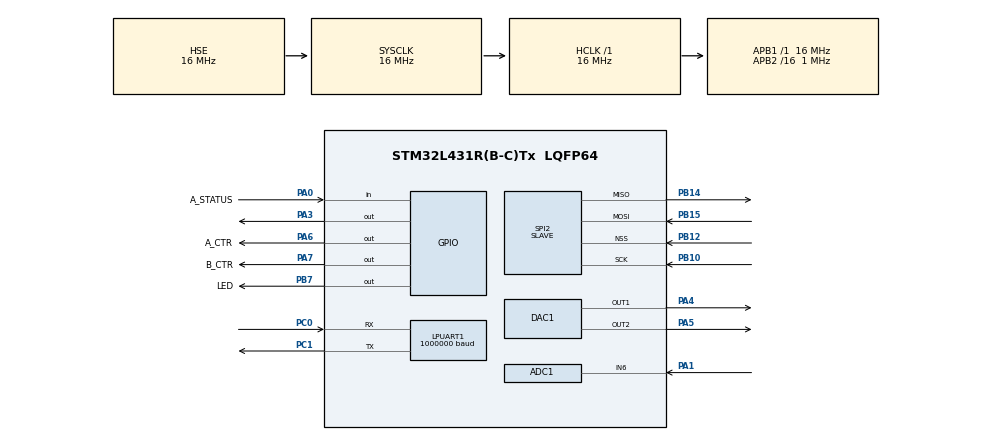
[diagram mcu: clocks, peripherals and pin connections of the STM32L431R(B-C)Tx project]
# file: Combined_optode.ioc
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ADC1.Channel-3\#ChannelRegularConversion=ADC_CHANNEL_6
ADC1.NbrOfConversionFlag=1
ADC1.OffsetNumber-3\#ChannelRegularConversion=ADC_OFFSET_NONE
ADC1.Rank-3\#ChannelRegularConversion=1
ADC1.Resolution=ADC_RESOLUTION_12B
ADC1.SamplingTime-3\#ChannelRegularConversion=ADC_SAMPLETIME_2CYCLES_5
ADC1.master=1
DAC1.DAC_Channel-DAC_OUT2=DAC_CHANNEL_2
LPUART1.BaudRate=1000000
LPUART1.WordLength=UART_WORDLENGTH_8B
Mcu.Family=STM32L4
Mcu.Name=STM32L431R(B-C)Tx
Mcu.Package=LQFP64
NVIC.PriorityGroup=NVIC_PRIORITYGROUP_4
NVIC.SPI2_IRQn=true\:0\:0\:false\:false\:true\:true\:true
NVIC.TIM1_UP_TIM16_IRQn=true\:0\:0\:false\:false\:true\:true\:true
PA0.GPIO_Label=A_STATUS
PA0.Signal=GPIO_Input
PA1.Signal=ADCx_IN6
PA13\ (JTMS-SWDIO).Mode=Serial_Wire
PA13\ (JTMS-SWDIO).Signal=SYS_JTMS-SWDIO
PA14\ (JTCK-SWCLK).Mode=Serial_Wire
PA14\ (JTCK-SWCLK).Signal=SYS_JTCK-SWCLK
PA3.Signal=GPIO_Output
PA4.Signal=COMP_DAC11_group
PA5.Signal=COMP_DAC12_group
PA6.GPIO_Label=A_CTR
PA6.Signal=GPIO_Output
PA7.GPIO_Label=B_CTR
PA7.Signal=GPIO_Output
PB10.Mode=Full_Duplex_Slave
PB10.Signal=SPI2_SCK
PB12.Mode=NSS_Signal_Hard_Input
PB12.Signal=SPI2_NSS
PB14.Mode=Full_Duplex_Slave
PB14.Signal=SPI2_MISO
PB15.Mode=Full_Duplex_Slave
PB15.Signal=SPI2_MOSI
PB7.GPIO_Label=LED
PB7.Signal=GPIO_Output
PC0.Mode=Asynchronous
PC0.Signal=LPUART1_RX
PC1.Mode=Asynchronous
PC1.Signal=LPUART1_TX
PC14-OSC32_IN\ (PC14).Mode=LSE-External-Oscillator
PC14-OSC32_IN\ (PC14).Signal=RCC_OSC32_IN
PC15-OSC32_OUT\ (PC15).Mode=LSE-External-Oscillator
PC15-OSC32_OUT\ (PC15).Signal=RCC_OSC32_OUT
PH0-OSC_IN\ (PH0).Mode=HSE-External-Oscillator
PH0-OSC_IN\ (PH0).Signal=RCC_OSC_IN
PH1-OSC_OUT\ (PH1).Mode=HSE-External-Oscillator
PH1-OSC_OUT\ (PH1).Signal=RCC_OSC_OUT
ProjectManager.HeapSize=0x200
ProjectManager.StackSize=0x400
ProjectManager.TargetToolchain=STM32CubeIDE
RCC.ADCCLockSelection=RCC_ADCCLKSOURCE_SYSCLK
RCC.ADCFreq_Value=16000000
RCC.AHBFreq_Value=16000000
RCC.APB1Freq_Value=16000000
RCC.APB1TimFreq_Value=16000000
RCC.APB2CLKDivider=RCC_HCLK_DIV16
RCC.APB2Freq_Value=1000000
RCC.APB2TimFreq_Value=2000000
RCC.CortexFreq_Value=16000000
RCC.FLatency-AdvancedSettings=FLASH_LATENCY_0
RCC.HCLKFreq_Value=16000000
RCC.HSE_VALUE=16000000
RCC.HSI48_VALUE=48000000
RCC.HSI_VALUE=16000000
RCC.LPUART1CLockSelection=RCC_LPUART1CLKSOURCE_SYSCLK
RCC.MSIAutoCalibration-AdvancedSettings=ENABLED
RCC.MSI_VALUE=4000000
RCC.PLLSourceVirtual=RCC_PLLSOURCE_HSE
RCC.SYSCLKFreq_VALUE=16000000
RCC.SYSCLKSource=RCC_SYSCLKSOURCE_HSE
RCC.VCOOutputFreq_Value=128000000
SH.ADCx_IN6.0=ADC1_IN6,IN6-Single-Ended
SH.COMP_DAC11_group.0=DAC1_OUT1,DAC_OUT1
SH.COMP_DAC12_group.0=DAC1_OUT2,DAC_OUT2
SPI2.DataSize=SPI_DATASIZE_8BIT
SPI2.Direction=SPI_DIRECTION_2LINES
SPI2.Mode=SPI_MODE_SLAVE
SPI2.VirtualNSS=VM_NSSHARD
SPI2.VirtualType=VM_SLAVE
TIM16.Period=5000-1
TIM16.Prescaler=250-1
VP_TIM16_VS_ClockSourceINT.Mode=Enable_Timer
board=custom

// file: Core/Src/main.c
/* USER CODE BEGIN Header */
/**
  ******************************************************************************
  * @file           : main.c
  * @brief          : this is for the firmware that runs on optode which
  *                   sends it data to the main controller using SPI
  * @Author			: UG Chathura Jayasankha
  ******************************************************************************
  * @attention
  *
  * <h2><center>&copy; Copyright (c) 2022 STMicroelectronics.
  * All rights reserved.</center></h2>
  *
  * This software component is licensed by ST under BSD 3-Clause license,
  * the "License"; You may not use this file except in compliance with the
  * License. You may obtain a copy of the License at:
  *                        opensource.org/licenses/BSD-3-Clause
  *
  ******************************************************************************
  */
/* USER CODE END Header */
#include "main.h"

/* USER CODE BEGIN Includes */
#include <stdio.h>
#include <string.h>

/* USER CODE END Includes */

/* USER CODE BEGIN PTD */
#define BUFFERSIZE 256

/* USER CODE END PTD */

/* USER CODE BEGIN PD */
enum
{
  TRANSFER_WAIT,
  TRANSFER_COMPLETE,
  TRANSFER_ERROR
};
/* USER CODE END PD */

ADC_HandleTypeDef hadc1;

DAC_HandleTypeDef hdac1;

UART_HandleTypeDef hlpuart1;

SPI_HandleTypeDef hspi2;

TIM_HandleTypeDef htim16;

/* USER CODE BEGIN PV */
uint16_t DAC_val = 4000;
/* Buffer used for transmission */
uint8_t aTxBuffer[BUFFERSIZE] = "This is a msg from optode board...\r\n";

/* Buffer used for reception */
uint8_t aRxBuffer[BUFFERSIZE] = "this is original rx from optode\r\n";

/* transfer state */
__IO uint32_t wTransferState = TRANSFER_WAIT;

// following counter is used to iterate over the new samples.
//when it incremented, new adc readings will be taken
//when it hits multiples of 10 or so, it changes the state of the corresponding led
//when it hits multiples of 100 or so, it changes the LED on action.
int sample_counter = 0;
int sample_counter_prev = 0;

uint16_t active_channel = ((uint16_t)0x0040);  //((uint16_t)0x0080) for channel 2
int channel_state = GPIO_PIN_SET; //GPIO_PIN_RESET

/* USER CODE END PV */

void SystemClock_Config(void);
static void MX_GPIO_Init(void);
static void MX_ADC1_Init(void);
static void MX_DAC1_Init(void);
static void MX_TIM16_Init(void);
static void MX_LPUART1_UART_Init(void);
static void MX_SPI2_Init(void);
/* USER CODE BEGIN PFP */
static void Timeout_Error_Handler(void);
static uint16_t Buffercmp(uint8_t *pBuffer1, uint8_t *pBuffer2, uint16_t BufferLength);
/* USER CODE END PFP */

/* USER CODE BEGIN 0 */
uint16_t adc_reading;
char msg[10];
char uart_buf[100];
int uart_buf_len;
/* USER CODE END 0 */

int main(void)
{

  /* MCU Configuration--------------------------------------------------------*/

  /* Reset of all peripherals, Initializes the Flash interface and the Systick. */
  HAL_Init();

  /* Configure the system clock */
  SystemClock_Config();

  /* Initialize all configured peripherals */
  MX_GPIO_Init();
  MX_ADC1_Init();
  MX_DAC1_Init();
  MX_TIM16_Init();
  MX_LPUART1_UART_Init();
  MX_SPI2_Init();
  /* USER CODE BEGIN 2 */

  // switching on led to show the fnirs start
	HAL_GPIO_WritePin(GPIOB, GPIO_PIN_7, GPIO_PIN_SET);
	HAL_Delay(500);
	HAL_GPIO_WritePin(GPIOB, GPIO_PIN_7, GPIO_PIN_RESET);
	HAL_Delay(500);
	HAL_GPIO_WritePin(GPIOB, GPIO_PIN_7, GPIO_PIN_SET);
	HAL_Delay(500);
	HAL_GPIO_WritePin(GPIOB, GPIO_PIN_7, GPIO_PIN_RESET);
	HAL_Delay(500);
	HAL_GPIO_WritePin(GPIOB, GPIO_PIN_7, GPIO_PIN_SET);
	HAL_Delay(500);
	HAL_GPIO_WritePin(GPIOB, GPIO_PIN_7, GPIO_PIN_RESET);
	HAL_Delay(500);

	HAL_GPIO_WritePin(GPIOA, GPIO_PIN_7, GPIO_PIN_SET);
	HAL_GPIO_WritePin(GPIOA, GPIO_PIN_6, GPIO_PIN_RESET);
	//usb output as a test
	uart_buf_len = sprintf(uart_buf, "Timer starting ...\r\n");
	HAL_UART_Transmit(&hlpuart1, (uint8_t *)uart_buf, uart_buf_len, 100);
	HAL_Delay(2000);
	// HAL_UART_Transmit(huart, pData, Size, Timeout)

	//start interrupt for ADC
	HAL_ADC_Start(&hadc1);

	//start interrupt timer
	//HAL_TIM_Base_Start_IT(&htim16);

	//start DAC
	HAL_DAC_Start(&hdac1, DAC_CHANNEL_1);
	HAL_DAC_Start(&hdac1, DAC_CHANNEL_2);
	HAL_DAC_SetValue(&hdac1, DAC1_CHANNEL_1, DAC_ALIGN_12B_R, DAC_val);
	HAL_DAC_SetValue(&hdac1, DAC1_CHANNEL_2, DAC_ALIGN_12B_R, DAC_val);

	HAL_Delay(2000);

	//start interrupt timer
	//HAL_TIM_Base_Start_IT(&htim16);

  /* USER CODE END 2 */

  /* Infinite loop */
  while (1)
  {

    /* USER CODE BEGIN 3 */

	  if(sample_counter==sample_counter_prev+1){
		  if (sample_counter%5==0){
				if(channel_state){
					channel_state = GPIO_PIN_RESET;
				}else{
					channel_state = GPIO_PIN_SET;
				}

				if(sample_counter%100==0){

					adc_reading = 1;
					sprintf(msg, "other %hu\r\n", adc_reading);
					HAL_UART_Transmit(&hlpuart1, (uint8_t*)msg, strlen(msg), HAL_MAX_DELAY);
					if(active_channel == 0x0040){
						active_channel = 0x0080;
					}else{
						active_channel = 0x0040;
					}
				}
				HAL_GPIO_WritePin(GPIOA, active_channel, channel_state);
		  }
		  sample_counter_prev=sample_counter;
	  }
	  //HAL_UART_Transmit(&hlpuart1, (uint8_t*)msg, strlen(msg), HAL_MAX_DELAY);
	  adc_reading = HAL_SPI_TransmitReceive(&hspi2, (uint8_t *)aTxBuffer, (uint8_t *)aRxBuffer, BUFFERSIZE, 5000);
	  //adc_reading = 1;
	  HAL_GPIO_TogglePin(GPIOB, GPIO_PIN_7);

	  sprintf(msg, "error %hu\r\n", adc_reading);
	  HAL_UART_Transmit(&hlpuart1, (uint8_t*)msg, strlen(msg), HAL_MAX_DELAY);
	  HAL_UART_Transmit(&hlpuart1,&aRxBuffer,sizeof(aRxBuffer),100);

  }
  /* USER CODE END 3 */
}

void SystemClock_Config(void)
{
  RCC_OscInitTypeDef RCC_OscInitStruct = {0};
  RCC_ClkInitTypeDef RCC_ClkInitStruct = {0};

  /** Configure the main internal regulator output voltage
  */
  if (HAL_PWREx_ControlVoltageScaling(PWR_REGULATOR_VOLTAGE_SCALE1) != HAL_OK)
  {
    Error_Handler();
  }
  /** Initializes the RCC Oscillators according to the specified parameters
  * in the RCC_OscInitTypeDef structure.
  */
  RCC_OscInitStruct.OscillatorType = RCC_OSCILLATORTYPE_HSE;
  RCC_OscInitStruct.HSEState = RCC_HSE_ON;
  RCC_OscInitStruct.PLL.PLLState = RCC_PLL_NONE;
  if (HAL_RCC_OscConfig(&RCC_OscInitStruct) != HAL_OK)
  {
    Error_Handler();
  }
  /** Initializes the CPU, AHB and APB buses clocks
  */
  RCC_ClkInitStruct.ClockType = RCC_CLOCKTYPE_HCLK|RCC_CLOCKTYPE_SYSCLK
                              |RCC_CLOCKTYPE_PCLK1|RCC_CLOCKTYPE_PCLK2;
  RCC_ClkInitStruct.SYSCLKSource = RCC_SYSCLKSOURCE_HSE;
  RCC_ClkInitStruct.AHBCLKDivider = RCC_SYSCLK_DIV1;
  RCC_ClkInitStruct.APB1CLKDivider = RCC_HCLK_DIV1;
  RCC_ClkInitStruct.APB2CLKDivider = RCC_HCLK_DIV16;

  if (HAL_RCC_ClockConfig(&RCC_ClkInitStruct, FLASH_LATENCY_0) != HAL_OK)
  {
    Error_Handler();
  }
}

static void MX_ADC1_Init(void)
{

  ADC_ChannelConfTypeDef sConfig = {0};

  /** Common config
  */
  hadc1.Instance = ADC1;
  hadc1.Init.ClockPrescaler = ADC_CLOCK_ASYNC_DIV1;
  hadc1.Init.Resolution = ADC_RESOLUTION_12B;
  hadc1.Init.DataAlign = ADC_DATAALIGN_RIGHT;
  hadc1.Init.ScanConvMode = ADC_SCAN_DISABLE;
  hadc1.Init.EOCSelection = ADC_EOC_SINGLE_CONV;
  hadc1.Init.LowPowerAutoWait = DISABLE;
  hadc1.Init.ContinuousConvMode = DISABLE;
  hadc1.Init.NbrOfConversion = 1;
  hadc1.Init.DiscontinuousConvMode = DISABLE;
  hadc1.Init.ExternalTrigConv = ADC_SOFTWARE_START;
  hadc1.Init.ExternalTrigConvEdge = ADC_EXTERNALTRIGCONVEDGE_NONE;
  hadc1.Init.DMAContinuousRequests = DISABLE;
  hadc1.Init.Overrun = ADC_OVR_DATA_PRESERVED;
  hadc1.Init.OversamplingMode = DISABLE;
  if (HAL_ADC_Init(&hadc1) != HAL_OK)
  {
    Error_Handler();
  }
  /** Configure Regular Channel
  */
  sConfig.Channel = ADC_CHANNEL_6;
  sConfig.Rank = ADC_REGULAR_RANK_1;
  sConfig.SamplingTime = ADC_SAMPLETIME_2CYCLES_5;
  sConfig.SingleDiff = ADC_SINGLE_ENDED;
  sConfig.OffsetNumber = ADC_OFFSET_NONE;
  sConfig.Offset = 0;
  if (HAL_ADC_ConfigChannel(&hadc1, &sConfig) != HAL_OK)
  {
    Error_Handler();
  }

}

static void MX_DAC1_Init(void)
{

  DAC_ChannelConfTypeDef sConfig = {0};

  /** DAC Initialization
  */
  hdac1.Instance = DAC1;
  if (HAL_DAC_Init(&hdac1) != HAL_OK)
  {
    Error_Handler();
  }
  /** DAC channel OUT1 config
  */
  sConfig.DAC_SampleAndHold = DAC_SAMPLEANDHOLD_DISABLE;
  sConfig.DAC_Trigger = DAC_TRIGGER_NONE;
  sConfig.DAC_OutputBuffer = DAC_OUTPUTBUFFER_ENABLE;
  sConfig.DAC_ConnectOnChipPeripheral = DAC_CHIPCONNECT_DISABLE;
  sConfig.DAC_UserTrimming = DAC_TRIMMING_FACTORY;
  if (HAL_DAC_ConfigChannel(&hdac1, &sConfig, DAC_CHANNEL_1) != HAL_OK)
  {
    Error_Handler();
  }
  /** DAC channel OUT2 config
  */
  if (HAL_DAC_ConfigChannel(&hdac1, &sConfig, DAC_CHANNEL_2) != HAL_OK)
  {
    Error_Handler();
  }

}

static void MX_LPUART1_UART_Init(void)
{

  hlpuart1.Instance = LPUART1;
  hlpuart1.Init.BaudRate = 1000000;
  hlpuart1.Init.WordLength = UART_WORDLENGTH_8B;
  hlpuart1.Init.StopBits = UART_STOPBITS_1;
  hlpuart1.Init.Parity = UART_PARITY_NONE;
  hlpuart1.Init.Mode = UART_MODE_TX_RX;
  hlpuart1.Init.HwFlowCtl = UART_HWCONTROL_NONE;
  hlpuart1.Init.OneBitSampling = UART_ONE_BIT_SAMPLE_DISABLE;
  hlpuart1.AdvancedInit.AdvFeatureInit = UART_ADVFEATURE_NO_INIT;
  if (HAL_UART_Init(&hlpuart1) != HAL_OK)
  {
    Error_Handler();
  }

}

static void MX_SPI2_Init(void)
{

  /* SPI2 parameter configuration*/
  hspi2.Instance = SPI2;
  hspi2.Init.Mode = SPI_MODE_SLAVE;
  hspi2.Init.Direction = SPI_DIRECTION_2LINES;
  hspi2.Init.DataSize = SPI_DATASIZE_8BIT;
  hspi2.Init.CLKPolarity = SPI_POLARITY_LOW;
  hspi2.Init.CLKPhase = SPI_PHASE_1EDGE;
  hspi2.Init.NSS = SPI_NSS_HARD_INPUT;
  hspi2.Init.FirstBit = SPI_FIRSTBIT_MSB;
  hspi2.Init.TIMode = SPI_TIMODE_DISABLE;
  hspi2.Init.CRCCalculation = SPI_CRCCALCULATION_DISABLE;
  hspi2.Init.CRCPolynomial = 7;
  hspi2.Init.CRCLength = SPI_CRC_LENGTH_DATASIZE;
  hspi2.Init.NSSPMode = SPI_NSS_PULSE_DISABLE;
  if (HAL_SPI_Init(&hspi2) != HAL_OK)
  {
    Error_Handler();
  }

}

static void MX_TIM16_Init(void)
{

  htim16.Instance = TIM16;
  htim16.Init.Prescaler = 250-1;
  htim16.Init.CounterMode = TIM_COUNTERMODE_UP;
  htim16.Init.Period = 5000-1;
  htim16.Init.ClockDivision = TIM_CLOCKDIVISION_DIV1;
  htim16.Init.RepetitionCounter = 0;
  htim16.Init.AutoReloadPreload = TIM_AUTORELOAD_PRELOAD_DISABLE;
  if (HAL_TIM_Base_Init(&htim16) != HAL_OK)
  {
    Error_Handler();
  }

}

static void MX_GPIO_Init(void)
{
  GPIO_InitTypeDef GPIO_InitStruct = {0};

  /* GPIO Ports Clock Enable */
  __HAL_RCC_GPIOC_CLK_ENABLE();
  __HAL_RCC_GPIOH_CLK_ENABLE();
  __HAL_RCC_GPIOA_CLK_ENABLE();
  __HAL_RCC_GPIOB_CLK_ENABLE();

  /*Configure GPIO pin Output Level */
  HAL_GPIO_WritePin(GPIOA, GPIO_PIN_3|A_CTR_Pin|B_CTR_Pin, GPIO_PIN_RESET);

  /*Configure GPIO pin Output Level */
  HAL_GPIO_WritePin(LED_GPIO_Port, LED_Pin, GPIO_PIN_RESET);

  /*Configure GPIO pin : A_STATUS_Pin */
  GPIO_InitStruct.Pin = A_STATUS_Pin;
  GPIO_InitStruct.Mode = GPIO_MODE_INPUT;
  GPIO_InitStruct.Pull = GPIO_NOPULL;
  HAL_GPIO_Init(A_STATUS_GPIO_Port, &GPIO_InitStruct);

  /*Configure GPIO pins : PA3 A_CTR_Pin B_CTR_Pin */
  GPIO_InitStruct.Pin = GPIO_PIN_3|A_CTR_Pin|B_CTR_Pin;
  GPIO_InitStruct.Mode = GPIO_MODE_OUTPUT_PP;
  GPIO_InitStruct.Pull = GPIO_NOPULL;
  GPIO_InitStruct.Speed = GPIO_SPEED_FREQ_LOW;
  HAL_GPIO_Init(GPIOA, &GPIO_InitStruct);

  /*Configure GPIO pin : LED_Pin */
  GPIO_InitStruct.Pin = LED_Pin;
  GPIO_InitStruct.Mode = GPIO_MODE_OUTPUT_PP;
  GPIO_InitStruct.Pull = GPIO_NOPULL;
  GPIO_InitStruct.Speed = GPIO_SPEED_FREQ_LOW;
  HAL_GPIO_Init(LED_GPIO_Port, &GPIO_InitStruct);

}

/* USER CODE BEGIN 4 */
//Interrupt service routine for periodic timer interrupt
void HAL_TIM_PeriodElapsedCallback(TIM_HandleTypeDef *htim){
	if (htim==&htim16){
	HAL_ADC_Start(&hadc1);
	sample_counter+=1;

    HAL_GPIO_TogglePin(GPIOB, GPIO_PIN_7);
	//HAL_Delay(1);

	//Read ADC reading

	HAL_ADC_PollForConversion(&hadc1, HAL_MAX_DELAY);
	adc_reading = HAL_ADC_GetValue(&hadc1);

	//sprintf(msg, "Reading is %hu\r\n", adc_reading);
	sprintf(msg, "%hu\r\n", sample_counter);

	//HAL_UART_Transmit(&hlpuart1, (uint8_t*)msg, strlen(msg), HAL_MAX_DELAY);
	}
}

/**
  * @brief  This function is executed in case of error occurrence.
  * @param  None
  * @retval None
  */
static void Timeout_Error_Handler(void)
{
  /* Toggle LED3 on */
  while (1)
  {

  }
}

/**
  * @brief  Compares two buffers.
  * @param  pBuffer1, pBuffer2: buffers to be compared.
  * @param  BufferLength: buffer's length
  * @retval 0  : pBuffer1 identical to pBuffer2
  *         >0 : pBuffer1 differs from pBuffer2
  */
static uint16_t Buffercmp(uint8_t *pBuffer1, uint8_t *pBuffer2, uint16_t BufferLength)
{
  while (BufferLength--)
  {
    if ((*pBuffer1) != *pBuffer2)
    {
      return BufferLength;
    }
    pBuffer1++;
    pBuffer2++;
  }

  return 0;
}

/**
  * @brief  This function is executed in case of error occurrence.
  * @retval None
  */

/* USER CODE END 4 */

void Error_Handler(void)
{
  /* USER CODE BEGIN Error_Handler_Debug */
  /* Turn LED3 on */
  while (1)
  {
  }
  /* USER CODE END Error_Handler_Debug */
}

/************************ (C) COPYRIGHT STMicroelectronics *****END OF FILE****/
